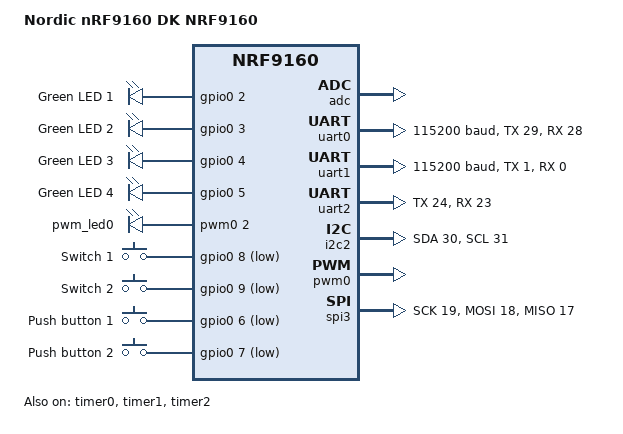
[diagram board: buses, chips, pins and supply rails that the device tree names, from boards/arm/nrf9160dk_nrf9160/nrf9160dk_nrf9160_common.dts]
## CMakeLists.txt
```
# SPDX-License-Identifier: Apache-2.0

cmake_minimum_required(VERSION 3.13.1)
list(APPEND BOARD_ROOT ${CMAKE_CURRENT_SOURCE_DIR})

find_package(Zephyr REQUIRED HINTS $ENV{ZEPHYR_BASE})
project(hello_world)

target_sources(app PRIVATE 
	src/main.c
	src/AnalogIn.c

	include/AnalogIn.h)


zephyr_include_directories(include)
```

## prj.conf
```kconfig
CONFIG_GPIO=y

CONFIG_DK_LIBRARY=y
CONFIG_DK_LIBRARY_INVERT_BUTTONS=y

CONFIG_ADC=y
CONFIG_ADC_ASYNC=y
```

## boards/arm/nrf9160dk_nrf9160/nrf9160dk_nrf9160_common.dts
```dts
/*
 * Copyright (c) 2018-2020 Nordic Semiconductor ASA
 *
 * SPDX-License-Identifier: Apache-2.0
 */

/ {
	model = "Nordic nRF9160 DK NRF9160";
	compatible = "nordic,nrf9160-dk-nrf9160";

	chosen {
		zephyr,console = &uart0;
		zephyr,shell-uart = &uart0;
		zephyr,uart-mcumgr = &uart0;
	};

	leds {
		compatible = "gpio-leds";
		led0: led_0 {
			gpios = <&gpio0 2 0>;
			label = "Green LED 1";
		};
		led1: led_1 {
			gpios = <&gpio0 3 0>;
			label = "Green LED 2";
		};
		led2: led_2 {
			gpios = <&gpio0 4 0>;
			label = "Green LED 3";
		};
		led3: led_3 {
			gpios = <&gpio0 5 0>;
			label = "Green LED 4";
		};
	};

	pwmleds {
		compatible = "pwm-leds";
		pwm_led0: pwm_led_0 {
			pwms = <&pwm0 2>;
		};
	};

	buttons {
		compatible = "gpio-keys";
		button0: button_0 {
			gpios = <&gpio0 8 (GPIO_PULL_UP | GPIO_ACTIVE_LOW)>;
			label = "Switch 1";
		};
		button1: button_1 {
			gpios = <&gpio0 9 (GPIO_PULL_UP | GPIO_ACTIVE_LOW)>;
			label = "Switch 2";
		};
		button2: button_2 {
			gpios = <&gpio0 6 (GPIO_PULL_UP | GPIO_ACTIVE_LOW)>;
			label = "Push button 1";
		};
		button3: button_3 {
			gpios = <&gpio0 7 (GPIO_PULL_UP | GPIO_ACTIVE_LOW)>;
			label = "Push button 2";
		};
	};

	/* These aliases are provided for compatibility with samples */
	aliases {
		led0 = &led0;
		led1 = &led1;
		led2 = &led2;
		led3 = &led3;
		pwm-led0 = &pwm_led0;
		sw0 = &button2;
		sw1 = &button3;
		sw2 = &button0;
		sw3 = &button1;
		
	};
};

&adc {
	status = "okay";
};

&gpiote {
	status = "okay";
};

&gpio0 {
	status = "okay";
};

&uart0 {
	status = "okay";
	current-speed = <115200>;
	tx-pin = <29>;
	rx-pin = <28>;
	rts-pin = <27>;
	cts-pin = <26>;
};

&uart1 {
	status = "okay";
	current-speed = <115200>;
	tx-pin = <1>;
	rx-pin = <0>;
	rts-pin = <14>;
	cts-pin = <15>;
};

&uart2 {
	tx-pin = <24>;
	rx-pin = <23>;
};

&i2c2 {
	compatible = "nordic,nrf-twim";
	status = "okay";
	sda-pin = <30>;
	scl-pin = <31>;
};

&pwm0 {
	status = "okay";
	ch0-pin = <2>;
};

&spi3 {
	compatible = "nordic,nrf-spim";
	status = "okay";
	sck-pin = <19>;
	mosi-pin = <18>;
	miso-pin = <17>;
};

&timer0 {
	status = "okay";
};

&timer1 {
	status = "okay";
};

&timer2 {
	status = "okay";
};

&flash0 {
	/*
	 * For more information, see:
	 * https://docs.zephyrproject.org/latest/guides/dts/legacy-macros.html#legacy-flash-partitions
	 */
	partitions {
		compatible = "fixed-partitions";
		#address-cells = <1>;
		#size-cells = <1>;

		boot_partition: partition@0 {
			label = "mcuboot";
			reg = <0x00000000 0x10000>;
		};
		slot0_partition: partition@10000 {
			label = "image-0";
		};
		slot0_ns_partition: partition@50000 {
			label = "image-0-nonsecure";
		};
		slot1_partition: partition@80000 {
			label = "image-1";
		};
		slot1_ns_partition: partition@c0000 {
			label = "image-1-nonsecure";
		};
		scratch_partition: partition@f0000 {
			label = "image-scratch";
			reg = <0x000f0000 0xa000>;
		};
		storage_partition: partition@fa000 {
			label = "storage";
			reg = <0x000fa000 0x00006000>;
		};
	};
};

/ {

	reserved-memory {
		#address-cells = <1>;
		#size-cells = <1>;
		ranges;

		sram0_s: image_s@20000000 {
			/* Secure image memory */
		};

		sram0_bsd: image_bsd@20010000 {
			/* BSD (shared) memory */
		};

		sram0_ns: image_ns@20020000 {
			/* Non-Secure image memory */
		};
	};
};

/* Include partition configuration file */
#include "nrf9160dk_nrf9160_partition_conf.dts"
```

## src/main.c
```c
#include <zephyr.h>
#include <stdio.h>
#include <device.h>
#include <drivers/gpio.h>
#include <dk_buttons_and_leds.h>
#include "AnalogIn.h"

/* 1000 msec = 1 sec */
#define SLEEP_TIME 	1000

#define LED_1 2
#define button_1 6


#define MSG_1 "TEST SEND"

const struct device *dev;

float temperature = 0.0;

static void button_handler(uint32_t button_states, uint32_t has_changed)
{
	if(button_states == 1)
	{
		temperature = AnalogRead(0);
		printf("Temp1: %.3f\n", temperature);
		temperature = AnalogRead(1);
		printf("Temp2: %.3f\n", temperature);
		temperature = AnalogRead(2);
		printf("Temp3: %.3f\n", temperature);
		temperature = AnalogRead(3);
		printf("Temp4: %.3f\n", temperature);
		temperature = AnalogRead(4);
		printf("Temp5: %.3f\n", temperature);
		temperature = AnalogRead(5);
		printf("Temp6: %.3f\n", temperature);
		temperature = AnalogRead(6);
		printf("Temp7: %.3f\n", temperature);
		temperature = AnalogRead(7);
		printf("Temp8: %.3f\n\n", temperature);
	}	
}

void main(void)
{
	printk("\n\n\n\n\n\n\n*** RUNNING ADC SHIT Sample ***\n");

	dev = device_get_binding("GPIO_0");

	/* Set LED pin as output */

	dk_buttons_init(button_handler);

	while (1) 
	{

		temperature = AnalogRead(0);
		printf("Temp1: %.3f\n", temperature);
		temperature = AnalogRead(1);
		printf("Temp2: %.3f\n", temperature);
		temperature = AnalogRead(2);
		printf("Temp3: %.3f\n", temperature);
		temperature = AnalogRead(3);
		printf("Temp4: %.3f\n", temperature);
		temperature = AnalogRead(4);
		printf("Temp5: %.3f\n", temperature);
		temperature = AnalogRead(5);
		printf("Temp6: %.3f\n", temperature);
		temperature = AnalogRead(6);
		printf("Temp7: %.3f\n", temperature);
		temperature = AnalogRead(7);
		printf("Temp8: %.3f\n\n", temperature);
		k_msleep(SLEEP_TIME);

	}
}
```

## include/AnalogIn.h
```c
#ifndef ANALOG_IN_H
#define ANALOG_IN_H

#include <stdint.h>
#include <stdbool.h>


float AnalogRead(int channel);

#define BAD_ANALOG_READ -123


#endif
```

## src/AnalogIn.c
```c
#include "AnalogIn.h"
#include <drivers/adc.h>
#include <string.h>

// Simple analog input method
// this just reads a sample then waits then returns it

// ADC Sampling Settings
// doc says that impedance of 800K == 40usec sample time

#define ADC_DEVICE_NAME		"ADC_0"
#define ADC_RESOLUTION		10
#define ADC_GAIN			ADC_GAIN_2
#define ADC_REFERENCE		ADC_REF_INTERNAL
#define ADC_ACQUISITION_TIME	ADC_ACQ_TIME(ADC_ACQ_TIME_MICROSECONDS, 40)
#define BUFFER_SIZE			6

static bool _IsInitialized = false;
static uint8_t _LastChannel = 250;
static int16_t m_sample_buffer[BUFFER_SIZE];

// the channel configuration with channel not yet filled in
static struct adc_channel_cfg m_1st_channel_cfg = {
	.gain             = ADC_GAIN,
	.reference        = ADC_REFERENCE,
	.acquisition_time = ADC_ACQUISITION_TIME,
	.channel_id       = 0, // gets set during init
	.differential	  = 0,
#if CONFIG_ADC_CONFIGURABLE_INPUTS
	.input_positive   = 0, // gets set during init
#endif
};

// return device* for the adc
static const struct device* getAdcDevice(void)
{
	return device_get_binding(ADC_DEVICE_NAME);
}

// initialize the adc channel
static const struct device* init_adc(int channel)
{
	int ret;
	const struct device *adc_dev = getAdcDevice();
	if(_LastChannel != channel)
	{
		_IsInitialized = false;
		_LastChannel = channel;
	}

	if ( adc_dev != NULL && !_IsInitialized)
	{
		// strangely channel_id gets the channel id and input_positive gets id+1
		m_1st_channel_cfg.channel_id = channel;
#if CONFIG_ADC_CONFIGURABLE_INPUTS
        m_1st_channel_cfg.input_positive = channel+1,
#endif
		ret = adc_channel_setup(adc_dev, &m_1st_channel_cfg);
		if(ret != 0)
		{
			//LOG_INF("Setting up of the first channel failed with code %d", ret);
			adc_dev = NULL;
		}
		else
		{
			_IsInitialized = true;	// we don't have any other analog users
		}
	}
	
	memset(m_sample_buffer, 0, sizeof(m_sample_buffer));
	return adc_dev;
}

// ------------------------------------------------
// read one channel of adc
// ------------------------------------------------
static int16_t readOneChannel(int channel)
{
	const struct adc_sequence sequence = {
		.options     = NULL,				// extra samples and callback
		.channels    = BIT(channel),		// bit mask of channels to read
		.buffer      = m_sample_buffer,		// where to put samples read
		.buffer_size = sizeof(m_sample_buffer),
		.resolution  = ADC_RESOLUTION,		// desired resolution
		.oversampling = 0,					// don't oversample
		.calibrate = 0						// don't calibrate
	};

	int ret;
	int16_t sample_value = BAD_ANALOG_READ;
	const struct device *adc_dev = init_adc(channel);
	if (adc_dev)
	{
		ret = adc_read(adc_dev, &sequence);
		if(ret == 0)
		{
			sample_value = m_sample_buffer[0];
		}
	}

	return sample_value;
}

// ------------------------------------------------
// high level read adc channel and convert to float voltage
// ------------------------------------------------
float AnalogRead(int channel)
{

	int16_t sv = readOneChannel(channel);
	if(sv == BAD_ANALOG_READ)
	{
		return sv;
	}

	// Convert the result to voltage
	// Result = [V(p) - V(n)] * GAIN/REFERENCE / 2^(RESOLUTION)
																				  
	int multip = 256;
	// find 2**adc_resolution
	switch(ADC_RESOLUTION)
				
	{
		default :
		case 8 :
			multip = 256;
			break;
		case 10 :
			multip = 1024;
			break;
		case 12 :
			multip = 4096;
			break;
		case 14 :
			multip = 16384;
			break;
	}
	
	// the 3.6 relates to the voltage divider being used in my circuit
	float fout = (sv * 3.6 / multip);
	return fout;
}
```
